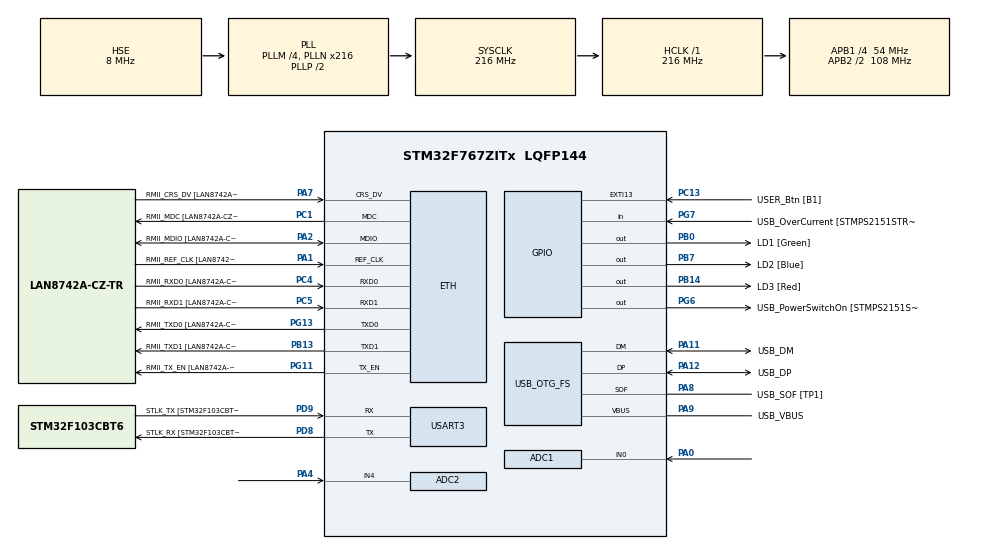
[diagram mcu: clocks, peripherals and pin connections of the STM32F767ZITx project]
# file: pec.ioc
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ADC1.Channel-1\#ChannelRegularConversion=ADC_CHANNEL_0
ADC1.ExternalTrigConv=ADC_EXTERNALTRIGCONV_T2_TRGO
ADC1.NbrOfConversionFlag=1
ADC1.Rank-1\#ChannelRegularConversion=1
ADC1.SamplingTime-1\#ChannelRegularConversion=ADC_SAMPLETIME_3CYCLES
ADC1.master=1
ADC2.Channel-1\#ChannelRegularConversion=ADC_CHANNEL_4
ADC2.ExternalTrigConv=ADC_EXTERNALTRIGCONV_T2_TRGO
ADC2.NbrOfConversionFlag=1
ADC2.Rank-1\#ChannelRegularConversion=1
ADC2.SamplingTime-1\#ChannelRegularConversion=ADC_SAMPLETIME_3CYCLES
Dma.ADC1.0.Direction=DMA_PERIPH_TO_MEMORY
Dma.ADC1.0.FIFOMode=DMA_FIFOMODE_DISABLE
Dma.ADC1.0.Instance=DMA2_Stream0
Dma.ADC1.0.MemDataAlignment=DMA_MDATAALIGN_HALFWORD
Dma.ADC1.0.MemInc=DMA_MINC_ENABLE
Dma.ADC1.0.Mode=DMA_NORMAL
Dma.ADC1.0.PeriphDataAlignment=DMA_PDATAALIGN_HALFWORD
Dma.ADC1.0.PeriphInc=DMA_PINC_DISABLE
Dma.ADC1.0.Priority=DMA_PRIORITY_LOW
Dma.ADC2.1.Direction=DMA_PERIPH_TO_MEMORY
Dma.ADC2.1.FIFOMode=DMA_FIFOMODE_DISABLE
Dma.ADC2.1.Instance=DMA2_Stream2
Dma.ADC2.1.MemDataAlignment=DMA_MDATAALIGN_HALFWORD
Dma.ADC2.1.MemInc=DMA_MINC_ENABLE
Dma.ADC2.1.Mode=DMA_NORMAL
Dma.ADC2.1.PeriphDataAlignment=DMA_PDATAALIGN_HALFWORD
Dma.ADC2.1.PeriphInc=DMA_PINC_DISABLE
Dma.ADC2.1.Priority=DMA_PRIORITY_LOW
Dma.Request0=ADC1
Dma.Request1=ADC2
ETH.MediaInterface=HAL_ETH_RMII_MODE
LWIP.BSP.number=1
LWIP.GATEWAY_ADDRESS=192.168.000.001
LWIP.IP_ADDRESS=192.168.000.090
LWIP.LWIP_DHCP=1
LWIP.LWIP_DNS=1
LWIP.LWIP_HTTPD=1
LWIP.LWIP_HTTPD_CGI=1
LWIP.LWIP_HTTPD_POST_MANUAL_WND=1
LWIP.LWIP_HTTPD_SUPPORT_POST=1
LWIP.NETMASK_ADDRESS=255.255.255.000
LWIP.Version=v2.1.2_Cube
LWIP0.BSP.STBoard=false
LWIP0.BSP.api=BSP_COMPONENT_DRIVER
LWIP0.BSP.component=LAN8742
LWIP0.BSP.instance=LAN8742
LWIP0.BSP.name=Driver_PHY
LWIP0.BSP.semaphore=S_LAN8742
LWIP0.BSP.solution=LAN8742
Mcu.Family=STM32F7
Mcu.Name=STM32F767ZITx
Mcu.Package=LQFP144
NVIC.DMA2_Stream0_IRQn=true\:0\:0\:false\:false\:true\:false\:true\:true
NVIC.DMA2_Stream2_IRQn=true\:0\:0\:false\:false\:true\:false\:true\:true
NVIC.PriorityGroup=NVIC_PRIORITYGROUP_4
PA0/WKUP.Signal=ADCx_IN0
PA1.GPIO_Label=RMII_REF_CLK [LAN8742A-CZ-TR_REFCLK0]
PA1.Mode=RMII
PA1.Signal=ETH_REF_CLK
PA10.GPIO_Label=USB_ID
PA10.Signal=USB_OTG_FS_ID
PA11.GPIO_Label=USB_DM
PA11.Mode=Device_Only
PA11.Signal=USB_OTG_FS_DM
PA12.GPIO_Label=USB_DP
PA12.Mode=Device_Only
PA12.Signal=USB_OTG_FS_DP
PA13.GPIO_Label=TMS
PA13.Mode=Serial_Wire
PA13.Signal=SYS_JTMS-SWDIO
PA14.GPIO_Label=TCK
PA14.Mode=Serial_Wire
PA14.Signal=SYS_JTCK-SWCLK
PA2.GPIO_Label=RMII_MDIO [LAN8742A-CZ-TR_MDIO]
PA2.Mode=RMII
PA2.Signal=ETH_MDIO
PA4.Signal=ADCx_IN4
PA7.GPIO_Label=RMII_CRS_DV [LAN8742A-CZ-TR_CRS_DV]
PA7.Mode=RMII
PA7.Signal=ETH_CRS_DV
PA8.GPIO_Label=USB_SOF [TP1]
PA8.Mode=Activate_SOF_FS
PA8.Signal=USB_OTG_FS_SOF
PA9.GPIO_Label=USB_VBUS
PA9.Mode=Activate_VBUS
PA9.Signal=USB_OTG_FS_VBUS
PB0.GPIO_Label=LD1 [Green]
PB0.Signal=GPIO_Output
PB13.GPIO_Label=RMII_TXD1 [LAN8742A-CZ-TR_TXD1]
PB13.Mode=RMII
PB13.Signal=ETH_TXD1
PB14.GPIO_Label=LD3 [Red]
PB14.Signal=GPIO_Output
PB3.GPIO_Label=SWO
PB3.Signal=SYS_JTDO-SWO
PB7.GPIO_Label=LD2 [Blue]
PB7.Signal=GPIO_Output
PC1.GPIO_Label=RMII_MDC [LAN8742A-CZ-TR_MDC]
PC1.Mode=RMII
PC1.Signal=ETH_MDC
PC13.GPIO_Label=USER_Btn [B1]
PC13.Signal=GPXTI13
PC14/OSC32_IN.Mode=LSE-External-Oscillator
PC14/OSC32_IN.Signal=RCC_OSC32_IN
PC15/OSC32_OUT.Mode=LSE-External-Oscillator
PC15/OSC32_OUT.Signal=RCC_OSC32_OUT
PC4.GPIO_Label=RMII_RXD0 [LAN8742A-CZ-TR_RXD0]
PC4.Mode=RMII
PC4.Signal=ETH_RXD0
PC5.GPIO_Label=RMII_RXD1 [LAN8742A-CZ-TR_RXD1]
PC5.Mode=RMII
PC5.Signal=ETH_RXD1
PD8.GPIO_Label=STLK_RX [STM32F103CBT6_PA3]
PD8.Mode=Asynchronous
PD8.Signal=USART3_TX
PD9.GPIO_Label=STLK_TX [STM32F103CBT6_PA2]
PD9.Mode=Asynchronous
PD9.Signal=USART3_RX
PG11.GPIO_Label=RMII_TX_EN [LAN8742A-CZ-TR_TXEN]
PG11.Mode=RMII
PG11.Signal=ETH_TX_EN
PG13.GPIO_Label=RMII_TXD0 [LAN8742A-CZ-TR_TXD0]
PG13.Mode=RMII
PG13.Signal=ETH_TXD0
PG6.GPIO_Label=USB_PowerSwitchOn [STMPS2151STR_EN]
PG6.Signal=GPIO_Output
PG7.GPIO_Label=USB_OverCurrent [STMPS2151STR_FAULT]
PG7.Signal=GPIO_Input
PH0/OSC_IN.GPIO_Label=MCO [STM32F103CBT6_PA8]
PH0/OSC_IN.Mode=HSE-External-Clock-Source
PH0/OSC_IN.Signal=RCC_OSC_IN
PH1/OSC_OUT.Mode=HSE-External-Clock-Source
PH1/OSC_OUT.Signal=RCC_OSC_OUT
ProjectManager.HeapSize=0x200
ProjectManager.StackSize=0x400
ProjectManager.TargetToolchain=STM32CubeIDE
RCC.48MHZClocksFreq_Value=24000000
RCC.AHBFreq_Value=216000000
RCC.APB1CLKDivider=RCC_HCLK_DIV4
RCC.APB1Freq_Value=54000000
RCC.APB1TimFreq_Value=108000000
RCC.APB2CLKDivider=RCC_HCLK_DIV2
RCC.APB2Freq_Value=108000000
RCC.APB2TimFreq_Value=216000000
RCC.CortexFreq_Value=216000000
RCC.HCLKFreq_Value=216000000
RCC.HSE_VALUE=8000000
RCC.HSI_VALUE=16000000
RCC.PLLM=4
RCC.PLLMUL=RCC_PLL_MUL9
RCC.PLLN=216
RCC.PLLQ=9
RCC.PRESCALERUSB=RCC_USBCLKSOURCE_PLL_DIV1_5
RCC.SYSCLKFreq_VALUE=216000000
RCC.SYSCLKSource=RCC_SYSCLKSOURCE_PLLCLK
RCC.SYSCLKSourceVirtual=RCC_SYSCLKSOURCE_PLLCLK
RCC.USBFreq_Value=48000000
RCC.VCOOutputFreq_Value=432000000
SH.ADCx_IN0.0=ADC1_IN0,IN0
SH.ADCx_IN4.0=ADC2_IN4,IN4
TIM2.Period=49
TIM2.Prescaler=83
TIM2.TIM_MasterOutputTrigger=TIM_TRGO_UPDATE
USART3.VirtualMode-Asynchronous=VM_ASYNC
USB_OTG_FS.VirtualMode=Device_Only
VP_LWIP_VS_Enabled.Mode=Enabled
VP_TIM2_VS_ClockSourceINT.Mode=Internal
board=NUCLEO-F767ZI

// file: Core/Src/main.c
/* USER CODE BEGIN Header */
/**
  ******************************************************************************
  * @file           : main.c
  * @brief          : Main program body
  ******************************************************************************
  * @attention
  *
  * Copyright (c) 2024 STMicroelectronics.
  * All rights reserved.
  *
  * This software is licensed under terms that can be found in the LICENSE file
  * in the root directory of this software component.
  * If no LICENSE file comes with this software, it is provided AS-IS.
  *
  ******************************************************************************
  */
/* USER CODE END Header */
#include "main.h"
#include "lwip.h"

/* USER CODE BEGIN Includes */
// Callback de tempo - implementação mínima
#include "lwip/netif.h"
#include "lwip/dhcp.h"
#include "stdio.h"
#include "lwip/dns.h"
#include "lwip/apps/http_client.h"
#include "lwip/apps/httpd_opts.h"
#include "lwip/netbuf.h"
#include "lwip/api.h"
#include "lwip/arch.h"
#include "string.h"  // Para a função strlen()
#include <math.h>

/* USER CODE END Includes */

/* USER CODE BEGIN PD */
#define SERVER_IP        "192.168.0.1"  // IP do seu servidor
#define SERVER_PORT      80             // Porta do seu servidor
#define BUFFER_SIZE 5000				// Tamanho do BUFFER
#define QUANT_ENVIO 5					// Quantidade de Buffers a para serem tradados antes do envio
#define obter_offset 0					// define para obter offset da fase
#define offset_fase 0 //1979			// offset da tensão de fase
#define fator_fase 1.08451				// fator de correação para tensão de fase
#define fator_corrente 2.2
#define VP_3PH1 388.9087				//tensão de pico da fase do sistema
#define AP_3PH1 40						//Corrente de pico do sistema.
#define offset_fase_corrente 2574		//Offset da corrente.
/* USER CODE END PD */

ADC_HandleTypeDef hadc1;
ADC_HandleTypeDef hadc2;
DMA_HandleTypeDef hdma_adc1;
DMA_HandleTypeDef hdma_adc2;
TIM_HandleTypeDef htim2;

UART_HandleTypeDef huart3;

PCD_HandleTypeDef hpcd_USB_OTG_FS;

/* USER CODE BEGIN PV */
//buffers usado para a coleta dos adcs via DMA ping pong.
uint16_t buffer1[BUFFER_SIZE];
uint16_t buffer2[BUFFER_SIZE];
uint16_t buffer_a_1[BUFFER_SIZE];
uint16_t buffer_a_2[BUFFER_SIZE];

int buffer_value=0;
float media_return=0.0;
int quantidade_soma_media=0;
float soma_media=0.0;
float soma_media_corrente = 0.0;
float media_fase_a =  0.0;
float media_corrente_a =  0.0;

ip_addr_t resolved_ip; //ip resolvido via dns.
extern struct netif gnetif;
/* USER CODE END PV */

void SystemClock_Config(void);
static void MX_GPIO_Init(void);
static void MX_DMA_Init(void);
static void MX_USART3_UART_Init(void);
static void MX_USB_OTG_FS_PCD_Init(void);
static void MX_ADC1_Init(void);
static void MX_TIM2_Init(void);
static void MX_ADC2_Init(void);
/* USER CODE BEGIN PFP */

static void dns_found(const char *name, const ip_addr_t *ipaddr, void *callback_arg);
void resolve_dns(const char *hostname);
void get_ip_address(void);
void enviarRequisicaoHttpPost(struct tcp_pcb *pcb, const void *data, u16_t len);
void initiate_http_request(float media,float corrente);
float calcular_rms(uint16_t arr[], uint8_t buffer_num);
/* USER CODE END PFP */

/* USER CODE BEGIN 0 */
err_t data_sent_callback(void *arg, struct tcp_pcb *tpcb, u16_t len) {
    // Implemente o que precisa ser feito após o reconhecimento dos dados pelo host remoto
    return ERR_OK;
}
/* USER CODE END 0 */

int main(void)
{

  /* MCU Configuration--------------------------------------------------------*/

  /* Reset of all peripherals, Initializes the Flash interface and the Systick. */
  HAL_Init();

  /* Configure the system clock */
  SystemClock_Config();

  /* Initialize all configured peripherals */
  MX_GPIO_Init();
  MX_DMA_Init();
  MX_USART3_UART_Init();
  MX_USB_OTG_FS_PCD_Init();
  MX_LWIP_Init();
  MX_ADC1_Init();
  MX_TIM2_Init();
  MX_ADC2_Init();
  /* USER CODE BEGIN 2 */
  //Usado para coletar o ip via dhcp.
  for (int i=0; i<100000000;i++){
	  MX_LWIP_Process();
	  if (netif_is_up(&gnetif) && (gnetif.ip_addr.addr != 0)) {
		  break;
	  }
  }
  get_ip_address();
  HAL_TIM_Base_Start(&htim2);
  HAL_ADC_Start_DMA(&hadc1, (uint32_t*)buffer1, BUFFER_SIZE);
  HAL_ADC_Start_DMA(&hadc2, (uint32_t*)buffer_a_1, BUFFER_SIZE);
  /* USER CODE END 2 */

  /* Infinite loop */
  /* USER CODE BEGIN WHILE */
  while (1)
  {
	  if (buffer_value==1){
		  media_return=calcular_rms(buffer1,1);
		  soma_media+=media_return;
		  media_return = calcular_rms(buffer_a_1,1);
		  soma_media_corrente += media_return;
		  quantidade_soma_media+=1;
	  }
	  else if(buffer_value==2){
		  media_return=calcular_rms(buffer2,1);
		  soma_media+=media_return;
		  media_return = calcular_rms(buffer_a_2,1);
		  soma_media_corrente += media_return;
		  quantidade_soma_media+=1;
	  }
	  if (quantidade_soma_media==5){
		  soma_media=(soma_media/5);
		  soma_media_corrente = (soma_media_corrente/5);
		  media_fase_a=(soma_media/(4095-offset_fase))*VP_3PH1*fator_fase; //valor de correção -> e transformação para VRMS
		  media_corrente_a = ((soma_media_corrente-offset_fase_corrente)/(4095-offset_fase_corrente))*AP_3PH1*fator_corrente;
		  printf("tensão = %.2f  corrente = %.2f valor do buffer %f \n\n",media_fase_a,media_corrente_a,soma_media_corrente);
		  initiate_http_request(media_fase_a,media_corrente_a);
		  quantidade_soma_media=0;
		  soma_media=0.0;
	  }
	  MX_LWIP_Process();
    /* USER CODE END WHILE */

  }
}

void SystemClock_Config(void)
{
  RCC_OscInitTypeDef RCC_OscInitStruct = {0};
  RCC_ClkInitTypeDef RCC_ClkInitStruct = {0};

  /** Configure LSE Drive Capability
  */
  HAL_PWR_EnableBkUpAccess();

  /** Configure the main internal regulator output voltage
  */
  __HAL_RCC_PWR_CLK_ENABLE();
  __HAL_PWR_VOLTAGESCALING_CONFIG(PWR_REGULATOR_VOLTAGE_SCALE1);

  /** Initializes the RCC Oscillators according to the specified parameters
  * in the RCC_OscInitTypeDef structure.
  */
  RCC_OscInitStruct.OscillatorType = RCC_OSCILLATORTYPE_HSE;
  RCC_OscInitStruct.HSEState = RCC_HSE_BYPASS;
  RCC_OscInitStruct.PLL.PLLState = RCC_PLL_ON;
  RCC_OscInitStruct.PLL.PLLSource = RCC_PLLSOURCE_HSE;
  RCC_OscInitStruct.PLL.PLLM = 4;
  RCC_OscInitStruct.PLL.PLLN = 216;
  RCC_OscInitStruct.PLL.PLLP = RCC_PLLP_DIV2;
  RCC_OscInitStruct.PLL.PLLQ = 9;
  RCC_OscInitStruct.PLL.PLLR = 2;
  if (HAL_RCC_OscConfig(&RCC_OscInitStruct) != HAL_OK)
  {
    Error_Handler();
  }

  /** Activate the Over-Drive mode
  */
  if (HAL_PWREx_EnableOverDrive() != HAL_OK)
  {
    Error_Handler();
  }

  /** Initializes the CPU, AHB and APB buses clocks
  */
  RCC_ClkInitStruct.ClockType = RCC_CLOCKTYPE_HCLK|RCC_CLOCKTYPE_SYSCLK
                              |RCC_CLOCKTYPE_PCLK1|RCC_CLOCKTYPE_PCLK2;
  RCC_ClkInitStruct.SYSCLKSource = RCC_SYSCLKSOURCE_PLLCLK;
  RCC_ClkInitStruct.AHBCLKDivider = RCC_SYSCLK_DIV1;
  RCC_ClkInitStruct.APB1CLKDivider = RCC_HCLK_DIV4;
  RCC_ClkInitStruct.APB2CLKDivider = RCC_HCLK_DIV2;

  if (HAL_RCC_ClockConfig(&RCC_ClkInitStruct, FLASH_LATENCY_7) != HAL_OK)
  {
    Error_Handler();
  }
}

static void MX_ADC1_Init(void)
{

  ADC_ChannelConfTypeDef sConfig = {0};

  /** Configure the global features of the ADC (Clock, Resolution, Data Alignment and number of conversion)
  */
  hadc1.Instance = ADC1;
  hadc1.Init.ClockPrescaler = ADC_CLOCK_SYNC_PCLK_DIV4;
  hadc1.Init.Resolution = ADC_RESOLUTION_12B;
  hadc1.Init.ScanConvMode = ADC_SCAN_DISABLE;
  hadc1.Init.ContinuousConvMode = DISABLE;
  hadc1.Init.DiscontinuousConvMode = DISABLE;
  hadc1.Init.ExternalTrigConvEdge = ADC_EXTERNALTRIGCONVEDGE_RISING;
  hadc1.Init.ExternalTrigConv = ADC_EXTERNALTRIGCONV_T2_TRGO;
  hadc1.Init.DataAlign = ADC_DATAALIGN_RIGHT;
  hadc1.Init.NbrOfConversion = 1;
  hadc1.Init.DMAContinuousRequests = DISABLE;
  hadc1.Init.EOCSelection = ADC_EOC_SINGLE_CONV;
  if (HAL_ADC_Init(&hadc1) != HAL_OK)
  {
    Error_Handler();
  }

  /** Configure for the selected ADC regular channel its corresponding rank in the sequencer and its sample time.
  */
  sConfig.Channel = ADC_CHANNEL_0;
  sConfig.Rank = ADC_REGULAR_RANK_1;
  sConfig.SamplingTime = ADC_SAMPLETIME_3CYCLES;
  if (HAL_ADC_ConfigChannel(&hadc1, &sConfig) != HAL_OK)
  {
    Error_Handler();
  }

}

static void MX_ADC2_Init(void)
{

  ADC_ChannelConfTypeDef sConfig = {0};

  /** Configure the global features of the ADC (Clock, Resolution, Data Alignment and number of conversion)
  */
  hadc2.Instance = ADC2;
  hadc2.Init.ClockPrescaler = ADC_CLOCK_SYNC_PCLK_DIV4;
  hadc2.Init.Resolution = ADC_RESOLUTION_12B;
  hadc2.Init.ScanConvMode = ADC_SCAN_DISABLE;
  hadc2.Init.ContinuousConvMode = DISABLE;
  hadc2.Init.DiscontinuousConvMode = DISABLE;
  hadc2.Init.ExternalTrigConvEdge = ADC_EXTERNALTRIGCONVEDGE_RISING;
  hadc2.Init.ExternalTrigConv = ADC_EXTERNALTRIGCONV_T2_TRGO;
  hadc2.Init.DataAlign = ADC_DATAALIGN_RIGHT;
  hadc2.Init.NbrOfConversion = 1;
  hadc2.Init.DMAContinuousRequests = DISABLE;
  hadc2.Init.EOCSelection = ADC_EOC_SINGLE_CONV;
  if (HAL_ADC_Init(&hadc2) != HAL_OK)
  {
    Error_Handler();
  }

  /** Configure for the selected ADC regular channel its corresponding rank in the sequencer and its sample time.
  */
  sConfig.Channel = ADC_CHANNEL_4;
  sConfig.Rank = ADC_REGULAR_RANK_1;
  sConfig.SamplingTime = ADC_SAMPLETIME_3CYCLES;
  if (HAL_ADC_ConfigChannel(&hadc2, &sConfig) != HAL_OK)
  {
    Error_Handler();
  }

}

static void MX_TIM2_Init(void)
{

  TIM_ClockConfigTypeDef sClockSourceConfig = {0};
  TIM_MasterConfigTypeDef sMasterConfig = {0};

  htim2.Instance = TIM2;
  htim2.Init.Prescaler = 83;
  htim2.Init.CounterMode = TIM_COUNTERMODE_UP;
  htim2.Init.Period = 49;
  htim2.Init.ClockDivision = TIM_CLOCKDIVISION_DIV1;
  htim2.Init.AutoReloadPreload = TIM_AUTORELOAD_PRELOAD_DISABLE;
  if (HAL_TIM_Base_Init(&htim2) != HAL_OK)
  {
    Error_Handler();
  }
  sClockSourceConfig.ClockSource = TIM_CLOCKSOURCE_INTERNAL;
  if (HAL_TIM_ConfigClockSource(&htim2, &sClockSourceConfig) != HAL_OK)
  {
    Error_Handler();
  }
  sMasterConfig.MasterOutputTrigger = TIM_TRGO_UPDATE;
  sMasterConfig.MasterSlaveMode = TIM_MASTERSLAVEMODE_DISABLE;
  if (HAL_TIMEx_MasterConfigSynchronization(&htim2, &sMasterConfig) != HAL_OK)
  {
    Error_Handler();
  }

}

static void MX_USART3_UART_Init(void)
{

  huart3.Instance = USART3;
  huart3.Init.BaudRate = 115200;
  huart3.Init.WordLength = UART_WORDLENGTH_8B;
  huart3.Init.StopBits = UART_STOPBITS_1;
  huart3.Init.Parity = UART_PARITY_NONE;
  huart3.Init.Mode = UART_MODE_TX_RX;
  huart3.Init.HwFlowCtl = UART_HWCONTROL_NONE;
  huart3.Init.OverSampling = UART_OVERSAMPLING_16;
  huart3.Init.OneBitSampling = UART_ONE_BIT_SAMPLE_DISABLE;
  huart3.AdvancedInit.AdvFeatureInit = UART_ADVFEATURE_NO_INIT;
  if (HAL_UART_Init(&huart3) != HAL_OK)
  {
    Error_Handler();
  }
  /* USER CODE BEGIN USART3_Init 2 */
  USART3->CR1 |= USART_CR1_RXNEIE;
  HAL_NVIC_EnableIRQ(USART3_IRQn);
  /* USER CODE END USART3_Init 2 */

}

static void MX_USB_OTG_FS_PCD_Init(void)
{

  hpcd_USB_OTG_FS.Instance = USB_OTG_FS;
  hpcd_USB_OTG_FS.Init.dev_endpoints = 6;
  hpcd_USB_OTG_FS.Init.speed = PCD_SPEED_FULL;
  hpcd_USB_OTG_FS.Init.dma_enable = DISABLE;
  hpcd_USB_OTG_FS.Init.phy_itface = PCD_PHY_EMBEDDED;
  hpcd_USB_OTG_FS.Init.Sof_enable = ENABLE;
  hpcd_USB_OTG_FS.Init.low_power_enable = DISABLE;
  hpcd_USB_OTG_FS.Init.lpm_enable = DISABLE;
  hpcd_USB_OTG_FS.Init.vbus_sensing_enable = ENABLE;
  hpcd_USB_OTG_FS.Init.use_dedicated_ep1 = DISABLE;
  if (HAL_PCD_Init(&hpcd_USB_OTG_FS) != HAL_OK)
  {
    Error_Handler();
  }

}

static void MX_DMA_Init(void)
{

  /* DMA controller clock enable */
  __HAL_RCC_DMA2_CLK_ENABLE();

  /* DMA interrupt init */
  /* DMA2_Stream0_IRQn interrupt configuration */
  HAL_NVIC_SetPriority(DMA2_Stream0_IRQn, 0, 0);
  HAL_NVIC_EnableIRQ(DMA2_Stream0_IRQn);
  /* DMA2_Stream2_IRQn interrupt configuration */
  HAL_NVIC_SetPriority(DMA2_Stream2_IRQn, 0, 0);
  HAL_NVIC_EnableIRQ(DMA2_Stream2_IRQn);

}

static void MX_GPIO_Init(void)
{
  GPIO_InitTypeDef GPIO_InitStruct = {0};

  /* GPIO Ports Clock Enable */
  __HAL_RCC_GPIOC_CLK_ENABLE();
  __HAL_RCC_GPIOH_CLK_ENABLE();
  __HAL_RCC_GPIOA_CLK_ENABLE();
  __HAL_RCC_GPIOB_CLK_ENABLE();
  __HAL_RCC_GPIOD_CLK_ENABLE();
  __HAL_RCC_GPIOG_CLK_ENABLE();

  /*Configure GPIO pin Output Level */
  HAL_GPIO_WritePin(GPIOB, LD1_Pin|LD3_Pin|LD2_Pin, GPIO_PIN_RESET);

  /*Configure GPIO pin Output Level */
  HAL_GPIO_WritePin(USB_PowerSwitchOn_GPIO_Port, USB_PowerSwitchOn_Pin, GPIO_PIN_RESET);

  /*Configure GPIO pin : USER_Btn_Pin */
  GPIO_InitStruct.Pin = USER_Btn_Pin;
  GPIO_InitStruct.Mode = GPIO_MODE_IT_RISING;
  GPIO_InitStruct.Pull = GPIO_NOPULL;
  HAL_GPIO_Init(USER_Btn_GPIO_Port, &GPIO_InitStruct);

  /*Configure GPIO pins : LD1_Pin LD3_Pin LD2_Pin */
  GPIO_InitStruct.Pin = LD1_Pin|LD3_Pin|LD2_Pin;
  GPIO_InitStruct.Mode = GPIO_MODE_OUTPUT_PP;
  GPIO_InitStruct.Pull = GPIO_NOPULL;
  GPIO_InitStruct.Speed = GPIO_SPEED_FREQ_LOW;
  HAL_GPIO_Init(GPIOB, &GPIO_InitStruct);

  /*Configure GPIO pin : USB_PowerSwitchOn_Pin */
  GPIO_InitStruct.Pin = USB_PowerSwitchOn_Pin;
  GPIO_InitStruct.Mode = GPIO_MODE_OUTPUT_PP;
  GPIO_InitStruct.Pull = GPIO_NOPULL;
  GPIO_InitStruct.Speed = GPIO_SPEED_FREQ_LOW;
  HAL_GPIO_Init(USB_PowerSwitchOn_GPIO_Port, &GPIO_InitStruct);

  /*Configure GPIO pin : USB_OverCurrent_Pin */
  GPIO_InitStruct.Pin = USB_OverCurrent_Pin;
  GPIO_InitStruct.Mode = GPIO_MODE_INPUT;
  GPIO_InitStruct.Pull = GPIO_NOPULL;
  HAL_GPIO_Init(USB_OverCurrent_GPIO_Port, &GPIO_InitStruct);

}

/* USER CODE BEGIN 4 */
//configuração ADC, DMA
void HAL_ADC_ConvCptCallBack(ADC_HandleTypeDef* hadc){

HAL_GPIO_TogglePin(GPIOA, GPIO_PIN_0);
}
//fim da configuração do ADC

//configuração do DMA callback flag de buffer cheio
void HAL_ADC_ConvCpltCallback(ADC_HandleTypeDef* hadc) {
    if (hadc->DMA_Handle->Instance->M0AR == (uint32_t)buffer1) {
    	buffer_value = 1;
    	HAL_ADC_Stop_DMA(&hadc1);  // Pare  DMA para alterar o buffer
    	HAL_ADC_Stop_DMA(&hadc2);  // Pare  DMA para alterar o buffer
    	HAL_ADC_Start_DMA(&hadc1, (uint32_t*)buffer2, BUFFER_SIZE);
    	HAL_ADC_Start_DMA(&hadc2, (uint32_t*)buffer_a_2, BUFFER_SIZE);

    	// Buffer 1 foi preenchido
    } else if (hadc->DMA_Handle->Instance->M0AR == (uint32_t)buffer2) {
    	buffer_value = 2;
    	HAL_ADC_Stop_DMA(&hadc1);  // Pare  DMA para alterar o buffer
    	HAL_ADC_Stop_DMA(&hadc2);  // Pare  DMA para alterar o buffer
    	HAL_ADC_Start_DMA(&hadc1, (uint32_t*)buffer1, BUFFER_SIZE);
    	HAL_ADC_Start_DMA(&hadc2, (uint32_t*)buffer_a_1, BUFFER_SIZE);
    	// Buffer 2 foi preenchido
    }
}

static void dns_found(const char *name, const ip_addr_t *ipaddr, void *callback_arg) {
    if (ipaddr != NULL) {
        // Endereço IP resolvido com sucesso
        resolved_ip = *ipaddr;
        printf("Endereço IP resolvido: %s\n", ipaddr_ntoa(&resolved_ip));
    } else {
        // Falha na resolução DNS
        printf("Falha na resolução DNS para: %s\n", name);
    }
}
void resolve_dns(const char *hostname) {
    err_t err = dns_gethostbyname(hostname, &resolved_ip, dns_found, NULL);

    if (err == ERR_INPROGRESS) {
        // A resolução DNS está em andamento
        printf("Resolução DNS em andamento para: %s\n", hostname);
    } else {
        // Falha ao iniciar a resolução DNS
        printf("Falha ao iniciar a resolução DNS para: %s\n", hostname);
    }
}
void get_ip_address(void) {
    // Verifica se a interface de rede está pronta e tem um endereço IP
    if (netif_is_up(&gnetif) && (gnetif.ip_addr.addr != 0)) {
        printf("IP Address: %u.%u.%u.%u\r\n",
               ip4_addr1(&(gnetif.ip_addr)),
               ip4_addr2(&(gnetif.ip_addr)),
               ip4_addr3(&(gnetif.ip_addr)),
               ip4_addr4(&(gnetif.ip_addr)));
    } else {
        printf("IP Address not available\r\n");
    }
}

void enviarRequisicaoHttpPost(struct tcp_pcb *pcb, const void *data, u16_t len) {
// Verifique o espaço disponível na fila de saída
	if (tcp_sndbuf(pcb) >= len) {
		// Enfileire os dados
		err_t write_err = tcp_write(pcb, data, len, TCP_WRITE_FLAG_COPY);

		if (write_err == ERR_OK) {
			// Força o envio imediato dos dados enfileirados
			tcp_output(pcb);
		} else {
			printf("ERROR1");
		}
	} else {
		// A fila de saída não tem espaço suficiente, aguarde ou trate conforme necessário
		printf("ERROR2");
	}
}

void initiate_http_request(float media,float corrente) {
    // Crie um PCB (Protocol Control Block) TCP
    struct tcp_pcb *tcp_pcb = tcp_new();
    float aux=media;
    char float_str[20];
    snprintf(float_str, sizeof(float_str), "%.2f", aux);
    // Configure o endereço IP e a porta do servidor
    ip_addr_t server_ip;
    IP4_ADDR(&server_ip, 192, 168, 252, 199);

    // Conecte ao servidor
    tcp_connect(tcp_pcb, &server_ip, 80, NULL);

    // Envie dados após a conexão ser estabelecida (isso pode ser feito em uma função de callback)
    tcp_sent(tcp_pcb, data_sent_callback);
    char json_data[64]; // Buffer para o JSON
    int json_len = snprintf(json_data, sizeof(json_data),
                             "{\"voltage\":%.2f,\"current\":%.2f}",
                             media, corrente);

     // Verifique se o JSON foi formatado corretamente
     if (json_len < 0 || json_len >= sizeof(json_data)) {
       // Trate erro de formatação (buffer pequeno ou falha)
       return;
     }
     // 3. Monte a requisição HTTP POST
       char http_request[256]; // Buffer para a requisição HTTP
       int http_len = snprintf(http_request, sizeof(http_request),
                               "POST /voltage_current HTTP/1.1\r\n"
                               "Host: 192.168.252.199:80\r\n"
                               "Content-Type: application/json\r\n"
                               "Content-Length: %d\r\n\r\n"
                               "%s", json_len, json_data);

       // Verifica se a requisição cabe no buffer
       if (http_len < 0 || http_len >= sizeof(http_request)) {
         // Trata erro de formatação
         return;
       }
    u16_t data_len = strlen(http_request);

    enviarRequisicaoHttpPost(tcp_pcb, http_request, data_len);
}

float calcular_rms(uint16_t arr[], uint8_t buffer_num){
	uint64_t soma_quadratica=0;
	float media=0;
	int16_t valor=0;
	if(obter_offset==1){
		for (int i=0;i<BUFFER_SIZE;i++){
			soma_quadratica+=arr[i];
		}
		 media=soma_quadratica/BUFFER_SIZE;
		 buffer_value=0;
		return media;
	}
	else{
		for (int z=0;z<BUFFER_SIZE;z++){
			if(buffer_num==1){
				valor=arr[z]-offset_fase;}
			else if(buffer_num==2){
				valor=arr[z]-offset_fase_corrente;
			}
			soma_quadratica+=(valor*valor);
		}
		media=sqrt(soma_quadratica/BUFFER_SIZE);
		buffer_value=0;
		return media;
	}
	return 0.0;
}
int __io_putchar(int ch)
{
	USART3->RDR = ch;						//transmite o dado
	while (!(USART3->ISR & USART_ISR_TXE));	//espera pelo fim da transmissão
	return ch;
}

// Sobrescreve a função _write para redirecionar a saída para a USART3
int _write(int file, char *data, int len)
{
    // Transmite os dados via USART3 (bloqueante)
    HAL_UART_Transmit(&huart3, (uint8_t*)data, len, HAL_MAX_DELAY);
    return len;
}

/* USER CODE END 4 */

void Error_Handler(void)
{
  __disable_irq();
  while (1)
  {
  }
}
